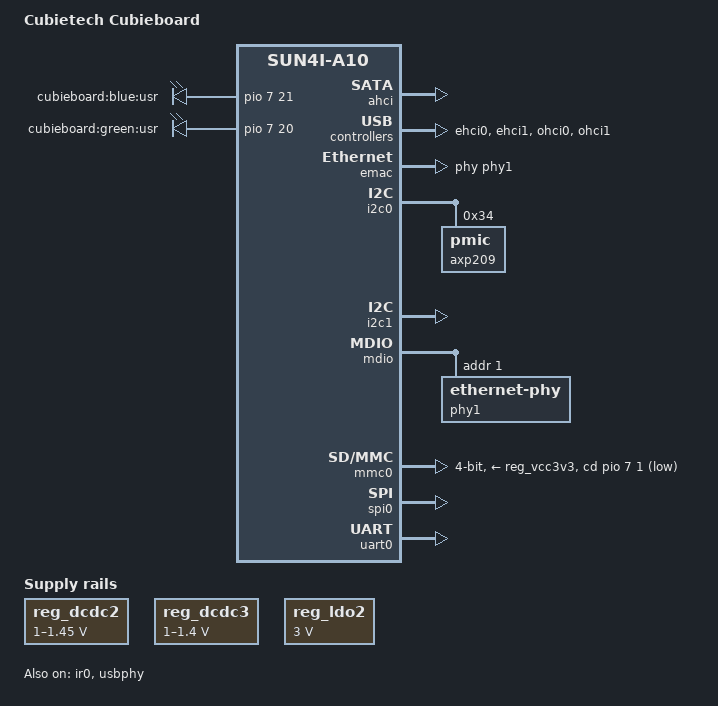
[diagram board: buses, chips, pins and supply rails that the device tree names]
/*
 * Copyright 2012 Stefan Roese
 * Stefan Roese <sr@denx.de>
 *
 * This file is dual-licensed: you can use it either under the terms
 * of the GPL or the X11 license, at your option. Note that this dual
 * licensing only applies to this file, and not this project as a
 * whole.
 *
 *  a) This file is free software; you can redistribute it and/or
 *     modify it under the terms of the GNU General Public License as
 *     published by the Free Software Foundation; either version 2 of the
 *     License, or (at your option) any later version.
 *
 *     This file is distributed in the hope that it will be useful,
 *     but WITHOUT ANY WARRANTY; without even the implied warranty of
 *     MERCHANTABILITY or FITNESS FOR A PARTICULAR PURPOSE.  See the
 *     GNU General Public License for more details.
 *
 *     You should have received a copy of the GNU General Public
 *     License along with this file; if not, write to the Free
 *     Software Foundation, Inc., 51 Franklin St, Fifth Floor, Boston,
 *     MA 02110-1301 USA
 *
 * Or, alternatively,
 *
 *  b) Permission is hereby granted, free of charge, to any person
 *     obtaining a copy of this software and associated documentation
 *     files (the "Software"), to deal in the Software without
 *     restriction, including without limitation the rights to use,
 *     copy, modify, merge, publish, distribute, sublicense, and/or
 *     sell copies of the Software, and to permit persons to whom the
 *     Software is furnished to do so, subject to the following
 *     conditions:
 *
 *     The above copyright notice and this permission notice shall be
 *     included in all copies or substantial portions of the Software.
 *
 *     THE SOFTWARE IS PROVIDED "AS IS", WITHOUT WARRANTY OF ANY KIND,
 *     EXPRESS OR IMPLIED, INCLUDING BUT NOT LIMITED TO THE WARRANTIES
 *     OF MERCHANTABILITY, FITNESS FOR A PARTICULAR PURPOSE AND
 *     NONINFRINGEMENT. IN NO EVENT SHALL THE AUTHORS OR COPYRIGHT
 *     HOLDERS BE LIABLE FOR ANY CLAIM, DAMAGES OR OTHER LIABILITY,
 *     WHETHER IN AN ACTION OF CONTRACT, TORT OR OTHERWISE, ARISING
 *     FROM, OUT OF OR IN CONNECTION WITH THE SOFTWARE OR THE USE OR
 *     OTHER DEALINGS IN THE SOFTWARE.
 */

/dts-v1/;
#include "sun4i-a10.dtsi"
#include "sunxi-common-regulators.dtsi"

#include <dt-bindings/gpio/gpio.h>
#include <dt-bindings/pinctrl/sun4i-a10.h>

/ {
	model = "Cubietech Cubieboard";
	compatible = "cubietech,a10-cubieboard", "allwinner,sun4i-a10";

	aliases {
		serial0 = &uart0;
	};

	chosen {
		stdout-path = "serial0:115200n8";
	};

	leds {
		compatible = "gpio-leds";
		pinctrl-names = "default";
		pinctrl-0 = <&led_pins_cubieboard>;

		blue {
			label = "cubieboard:blue:usr";
			gpios = <&pio 7 21 GPIO_ACTIVE_HIGH>; /* LED1 */
		};

		green {
			label = "cubieboard:green:usr";
			gpios = <&pio 7 20 GPIO_ACTIVE_HIGH>; /* LED2 */
			linux,default-trigger = "heartbeat";
		};
	};
};

&ahci {
	target-supply = <&reg_ahci_5v>;
	status = "okay";
};

&cpu0 {
	cpu-supply = <&reg_dcdc2>;
};

&ehci0 {
	status = "okay";
};

&ehci1 {
	status = "okay";
};

&emac {
	pinctrl-names = "default";
	pinctrl-0 = <&emac_pins_a>;
	phy = <&phy1>;
	status = "okay";
};

&i2c0 {
	pinctrl-names = "default";
	pinctrl-0 = <&i2c0_pins_a>;
	status = "okay";

	axp209: pmic@34 {
		reg = <0x34>;
		interrupts = <0>;
	};
};

&i2c1 {
	pinctrl-names = "default";
	pinctrl-0 = <&i2c1_pins_a>;
	status = "okay";
};

&ir0 {
	pinctrl-names = "default";
	pinctrl-0 = <&ir0_pins_a>;
	status = "okay";
};

&mdio {
	status = "okay";

	phy1: ethernet-phy@1 {
		reg = <1>;
	};
};

&mmc0 {
	pinctrl-names = "default";
	pinctrl-0 = <&mmc0_pins_a>, <&mmc0_cd_pin_reference_design>;
	vmmc-supply = <&reg_vcc3v3>;
	bus-width = <4>;
	cd-gpios = <&pio 7 1 GPIO_ACTIVE_HIGH>; /* PH1 */
	cd-inverted;
	status = "okay";
};

&ohci0 {
	status = "okay";
};

&ohci1 {
	status = "okay";
};

&pio {
	led_pins_cubieboard: led_pins@0 {
		allwinner,pins = "PH20", "PH21";
		allwinner,function = "gpio_out";
		allwinner,drive = <SUN4I_PINCTRL_20_MA>;
		allwinner,pull = <SUN4I_PINCTRL_NO_PULL>;
	};
};

&reg_ahci_5v {
	status = "okay";
};

#include "axp209.dtsi"

&reg_dcdc2 {
	regulator-always-on;
	regulator-min-microvolt = <1000000>;
	regulator-max-microvolt = <1450000>;
	regulator-name = "vdd-cpu";
};

&reg_dcdc3 {
	regulator-always-on;
	regulator-min-microvolt = <1000000>;
	regulator-max-microvolt = <1400000>;
	regulator-name = "vdd-int-dll";
};

&reg_ldo1 {
	regulator-name = "vdd-rtc";
};

&reg_ldo2 {
	regulator-always-on;
	regulator-min-microvolt = <3000000>;
	regulator-max-microvolt = <3000000>;
	regulator-name = "avcc";
};

&reg_usb1_vbus {
	status = "okay";
};

&reg_usb2_vbus {
	status = "okay";
};

&spi0 {
	pinctrl-names = "default";
	pinctrl-0 = <&spi0_pins_a>;
	status = "okay";
};

&uart0 {
	pinctrl-names = "default";
	pinctrl-0 = <&uart0_pins_a>;
	status = "okay";
};

&usbphy {
	usb1_vbus-supply = <&reg_usb1_vbus>;
	usb2_vbus-supply = <&reg_usb2_vbus>;
	status = "okay";
};
